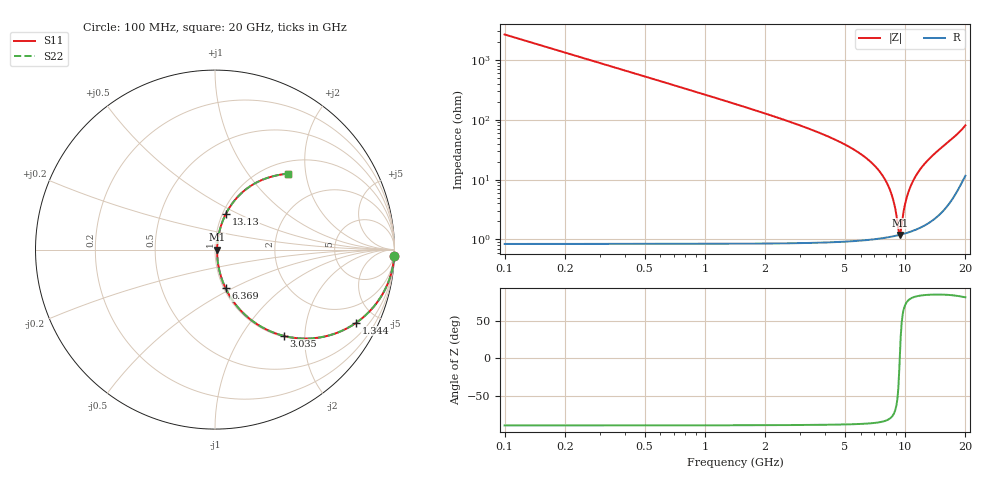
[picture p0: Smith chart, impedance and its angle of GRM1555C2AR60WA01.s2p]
!Murata Part Number: GRM1555C2AR60WA01
!These Parameters are Measured in Series Mode Connection
!Data Generated on Mar 30, 2021
!  o--ll--o
!Port1  Port2
!  o------o
!Operation Temp=25[degC], DC Bias Voltage=0[V]
!Freq. Start=100[MHz] Stop=20[GHz] 401[Steps]
# Hz S RI R 50
!Freq.(Hz) S11(Real) S11(Imag) S21(Real) S21(Imag) S12(Real) S12(Imag) S22(Real) S22(Imag)
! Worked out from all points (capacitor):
!   401 points, 100 MHz to 20 GHz, reference 50 ohm
!   read as one part in series: C = 600 fF near 199.5 MHz
!   lowest |Z| = 1.19 ohm at 9.403 GHz (marker M1)
!   series resonance near 9.402 GHz, so ESL is about 480 pH
!   S11 on the Smith chart (normalised r, x): 100 MHz: 1, -53; 1.344 GHz: 1.02, -3.87; 3.035 GHz: 1.02, -1.57; 6.369 GHz: 1.02, -0.46; 13.13 GHz: 1.04, +0.44; 20 GHz: 1.23, +1.59
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1e8  0.9986 -0.0376  0.00143 0.0376  0.00143 0.0376  0.9986 -0.0376
2.99e8  0.9873 -0.1114  0.0127 0.1114  0.0127 0.1114  0.9873 -0.1114
5.4775e8  0.9585 -0.1985  0.0415 0.1985  0.0415 0.1985  0.9585 -0.1985
8.96e8  0.8953 -0.3048  0.1047 0.3048  0.1047 0.3048  0.8953 -0.3048
1.34375e9  0.7883 -0.4063  0.2117 0.4063  0.2117 0.4063  0.7883 -0.4063
2.09e9  0.5933 -0.4877  0.4067 0.4877  0.4067 0.4877  0.5933 -0.4877
3.03525e9  0.3836 -0.4808  0.6164 0.4808  0.6164 0.4808  0.3836 -0.4808
3.43325e9  0.3146 -0.4579  0.6854 0.4579  0.6854 0.4579  0.3146 -0.4579
6.3685e9  0.0588 -0.215  0.9412 0.215  0.9412 0.215  0.0588 -0.215
6.7665e9  0.0451 -0.1835  0.9549 0.1835  0.9549 0.1835  0.0451 -0.1835
7.71175e9  0.0234 -0.1127  0.9766 0.1127  0.9766 0.1127  0.0234 -0.1127
8.40825e9  0.0151 -0.0642  0.9849 0.0642  0.9849 0.0642  0.0151 -0.0642
8.856e9  0.0125 -0.0346  0.9875 0.0346  0.9875 0.0346  0.0125 -0.0346
9.30375e9  0.0117 -0.0061  0.9883 0.0061  0.9883 0.0061  0.0117 -0.0061
9.40325e9  0.0118 8.28e-05  0.9882 -8.28e-05  0.9882 -8.28e-05  0.0118 8.28e-05
1.005e10  0.014 0.0391  0.986 -0.0391  0.986 -0.0391  0.014 0.0391
1.05475e10  0.0178 0.0677  0.9822 -0.0677  0.9822 -0.0677  0.0178 0.0677
1.119425e10  0.0251 0.1034  0.9749 -0.1034  0.9749 -0.1034  0.0251 0.1034
1.31345e10  0.0614 0.2008  0.9386 -0.2008  0.9386 -0.2008  0.0614 0.2008
1.338325e10  0.0676 0.2123  0.9324 -0.2123  0.9324 -0.2123  0.0676 0.2123
1.67165e10  0.1874 0.347  0.8126 -0.347  0.8126 -0.347  0.1874 0.347
2e10  0.4062 0.4238  0.5938 -0.4238  0.5938 -0.4238  0.4062 0.4238
